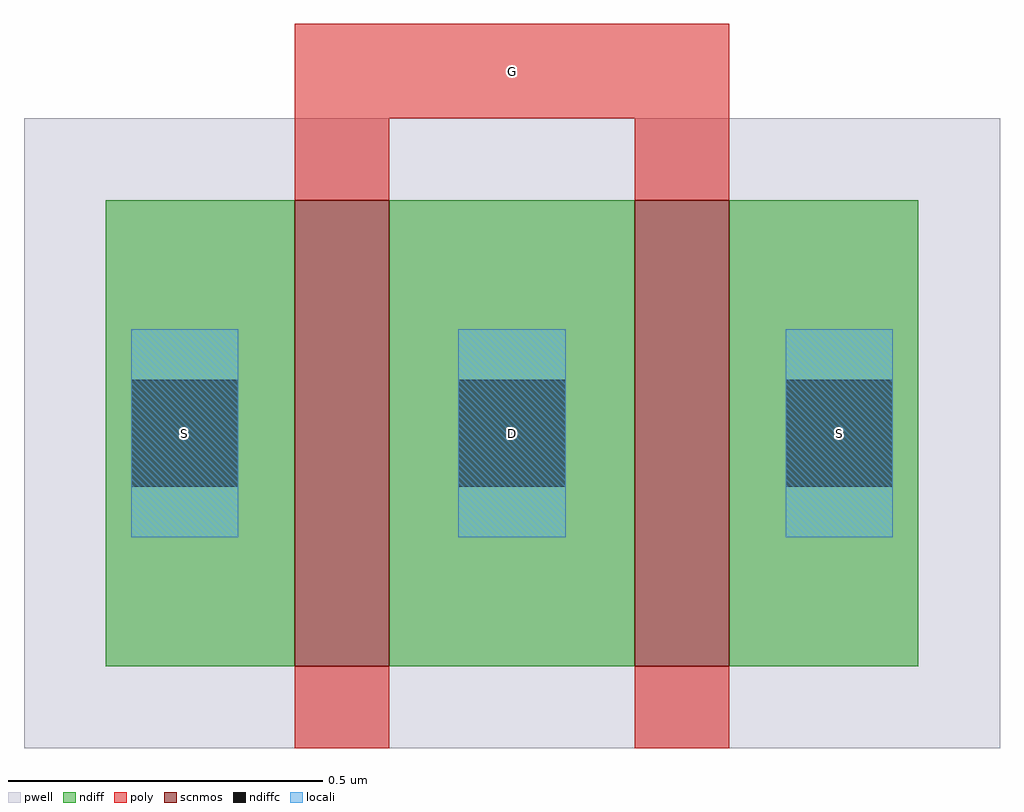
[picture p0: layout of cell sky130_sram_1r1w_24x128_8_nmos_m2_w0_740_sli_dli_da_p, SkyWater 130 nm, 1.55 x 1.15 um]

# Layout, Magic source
magic
tech sky130B
magscale 1 2
<< pwell >>
rect -26 -26 284 174
<< scnmos >>
rect 60 0 90 148
rect 168 0 198 148
<< ndiff >>
rect 0 0 60 148
rect 90 0 168 148
rect 198 0 258 148
<< poly >>
rect 60 174 198 204
rect 60 148 90 174
rect 168 148 198 174
rect 60 -26 90 0
rect 168 -26 198 0
<< locali >>
rect 8 41 42 107
rect 112 41 146 107
rect 216 41 250 107
use sky130_sram_1r1w_24x128_8_contact_10  sky130_sram_1r1w_24x128_8_contact_10_0
transform 1 0 208 0 1 41
box -26 -22 76 88
use sky130_sram_1r1w_24x128_8_contact_10  sky130_sram_1r1w_24x128_8_contact_10_1
transform 1 0 104 0 1 41
box -26 -22 76 88
use sky130_sram_1r1w_24x128_8_contact_10  sky130_sram_1r1w_24x128_8_contact_10_2
transform 1 0 0 0 1 41
box -26 -22 76 88
<< labels >>
rlabel poly s 129 189 129 189 4 G
port 1 nsew
rlabel locali s 233 74 233 74 4 S
port 2 nsew
rlabel locali s 25 74 25 74 4 S
port 2 nsew
rlabel locali s 129 74 129 74 4 D
port 3 nsew
<< properties >>
string FIXED_BBOX -25 -26 283 204
<< end >>

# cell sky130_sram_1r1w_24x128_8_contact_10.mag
magic
tech sky130B
<< pwell >>
rect -13 -11 38 44
<< ndiff >>
rect 0 25 25 31
rect 0 8 4 25
rect 21 8 25 25
rect 0 2 25 8
<< ndiffc >>
rect 4 8 21 25
<< locali >>
rect 4 25 21 33
rect 4 0 21 8
<< properties >>
string FIXED_BBOX -12 -10 37 43
<< end >>
